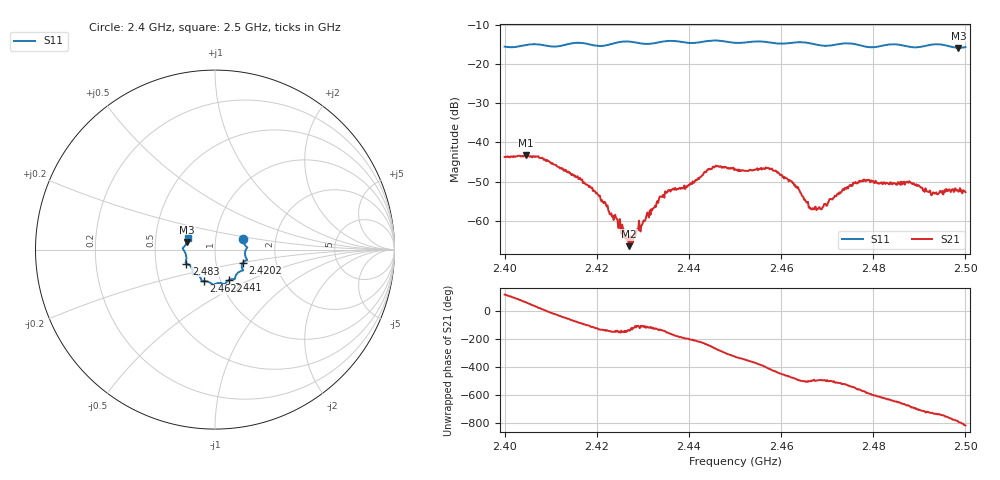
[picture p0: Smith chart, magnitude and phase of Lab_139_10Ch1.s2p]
# Hz S RI R 50
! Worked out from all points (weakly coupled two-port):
!   601 points, 2.4 GHz to 2.5 GHz, reference 50 ohm
!   highest |S21| = -43.30 dB at 2.4047 GHz (marker M1); lowest = -66.5 dB at 2.427 GHz (marker M2)
!   lowest |S11| = -15.8 dB at 2.4985 GHz (marker M3), VSWR 1.39, Z = 36.4 + j3.15 ohm
!   |S11| at or under -10 dB: start of sweep to end of sweep
!   S12 and S22 are empty: the file has one direction only
!   S11 on the Smith chart (normalised r, x): 2.4 GHz: 1.36, +0.17; 2.4202 GHz: 1.35, -0.20; 2.441 GHz: 1.09, -0.39; 2.4622 GHz: 0.83, -0.30; 2.483 GHz: 0.72, -0.12; 2.5 GHz: 0.73, +0.10
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2.4e9  0.1565 0.0602  -0.00336 0.0056  0 0  0 0
2.404667e9  0.1755 0.0163  0.00289 0.0062  0 0  0 0
2.408667e9  0.1742 0.00412  0.00601 0.00101  0 0  0 0
2.416667e9  0.1779 -0.0584  0.00029 -0.00333  0 0  0 0
2.420167e9  0.1557 -0.0722  -0.00113 -0.00187  0 0  0 0
2.427e9  0.1559 -0.1168  -0.000348 -0.000321  0 0  0 0
2.433333e9  0.1128 -0.1525  -0.00109 -0.0013  0 0  0 0
2.435333e9  0.1112 -0.1638  -0.00204 -0.00112  0 0  0 0
2.441e9  0.0765 -0.1704  -0.00271 0.00139  0 0  0 0
2.445667e9  0.0529 -0.1941  -0.000559 0.00487  0 0  0 0
2.45e9  0.0262 -0.186  0.00367 0.00272  0 0  0 0
2.4575e9  -0.0213 -0.1883  0.00283 -0.00355  0 0  0 0
2.462167e9  -0.0635 -0.1764  -0.00121 -0.00296  0 0  0 0
2.466667e9  -0.0761 -0.1668  -0.00102 -0.00094  0 0  0 0
2.468667e9  -0.0851 -0.1512  -0.000885 -0.00109  0 0  0 0
2.4775e9  -0.1253 -0.118  -0.00279 0.0015  0 0  0 0
2.483e9  -0.159 -0.0781  -0.000157 0.00305  0 0  0 0
2.483333e9  -0.1607 -0.0774  -0.000129 0.00294  0 0  0 0
2.487667e9  -0.1596 -0.0521  0.00212 0.0022  0 0  0 0
2.493e9  -0.179 0.00339  0.00226 -0.000413  0 0  0 0
2.4985e9  -0.1562 0.0422  0.000725 -0.00224  0 0  0 0
2.5e9  -0.1527 0.0634  -0.000246 -0.00231  0 0  0 0
